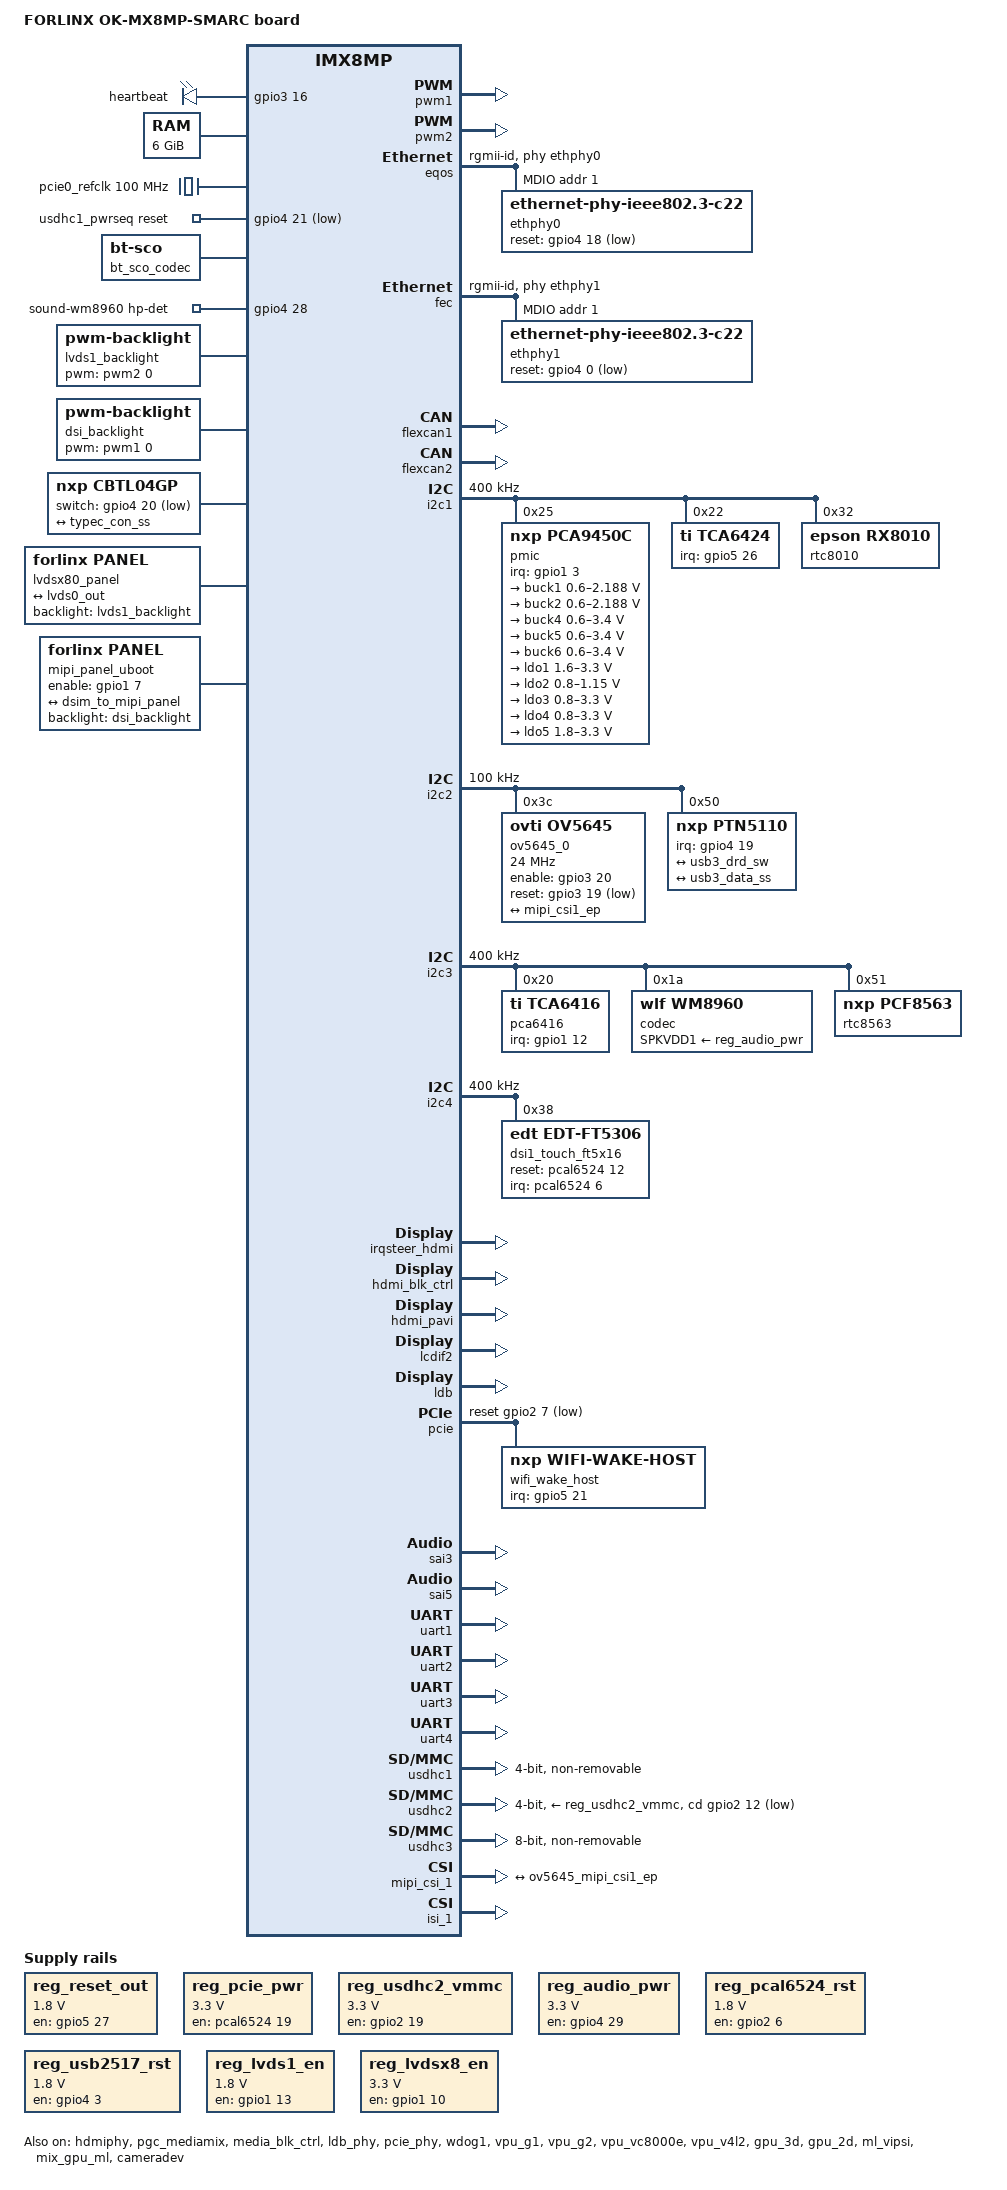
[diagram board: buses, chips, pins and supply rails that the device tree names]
// SPDX-License-Identifier: (GPL-2.0+ OR MIT)
/*
 * Copyright 2023 FORLINX
 */

/dts-v1/;

#include <dt-bindings/phy/phy-imx8-pcie.h>
#include <dt-bindings/usb/pd.h>
#include "imx8mp.dtsi"

/ {
	model = "FORLINX OK-MX8MP-SMARC board";
	compatible = "fsl,imx8mp", "forlinx,ok-mx8mp-smarc";

	chosen {
		stdout-path = &uart2;
	};

	gpio-leds {
		compatible = "gpio-leds";
		pinctrl-names = "default";
		pinctrl-0 = <&pinctrl_gpio_led>;

		heartbeat {
			linux,default-trigger = "heartbeat";
			gpios = <&gpio3 16 GPIO_ACTIVE_HIGH>;
			default-state = "off";
		};
	};

	memory@40000000 {
		device_type = "memory";
		reg = <0x0 0x40000000 0 0xc0000000>,
		      <0x1 0x00000000 0 0xc0000000>;
	};

	pcie0_refclk: pcie0-refclk {
		compatible = "fixed-clock";
		#clock-cells = <0>;
		clock-frequency = <100000000>;
	};

	reg_reset_out: regulator-reset-out {
		compatible = "regulator-fixed";
		pinctrl-names = "default";
		pinctrl-0 = <&pinctrl_reset_out>;
		regulator-name = "RESET_OUT_1V8";
		regulator-min-microvolt = <1800000>;
		regulator-max-microvolt = <1800000>;
		gpio = <&gpio5 27 GPIO_ACTIVE_HIGH>;
		enable-active-high;
		regulator-always-on;
	};

	reg_pcie_pwr: regulator-pcie-pwr {
		compatible = "regulator-fixed";
		regulator-name = "PCIE_PWR_3V3";
		regulator-min-microvolt = <3300000>;
		regulator-max-microvolt = <3300000>;
		gpio = <&pcal6524 19 GPIO_ACTIVE_HIGH>;
		enable-active-high;
		regulator-always-on;
	};
/*
	reg_usb_vbus: regulator-vbus {
		compatible = "regulator-fixed";
		pinctrl-names = "default";
		pinctrl-0 = <&pinctrl_usb1_vbus>;
		regulator-name = "USB_VBUS";
		regulator-min-microvolt = <5000000>;
		regulator-max-microvolt = <5000000>;
		gpio = <&gpio1 14 GPIO_ACTIVE_HIGH>;
		enable-active-high;
		regulator-always-on;
	};
*/
	reg_usdhc2_vmmc: regulator-usdhc2 {
		compatible = "regulator-fixed";
		pinctrl-names = "default";
		pinctrl-0 = <&pinctrl_reg_usdhc2_vmmc>;
		regulator-name = "VSD_3V3";
		regulator-min-microvolt = <3300000>;
		regulator-max-microvolt = <3300000>;
		gpio = <&gpio2 19 GPIO_ACTIVE_HIGH>;
		enable-active-high;
	};

	reg_audio_pwr: regulator-audio-pwr {
		compatible = "regulator-fixed";
		regulator-name = "audio-pwr";
		regulator-min-microvolt = <3300000>;
		regulator-max-microvolt = <3300000>;
		gpio = <&gpio4 29 GPIO_ACTIVE_HIGH>;
		enable-active-high;
		regulator-always-on;
	};

	reg_pcal6524_rst: regulator-pcal6524-rst {
		compatible = "regulator-fixed";
		pinctrl-names = "default";
		pinctrl-0 = <&pinctrl_pcal6524_rst>;
		regulator-name = "PCAL6524_RST_1V8";
		regulator-min-microvolt = <1800000>;
		regulator-max-microvolt = <1800000>;
		gpio = <&gpio2 6 GPIO_ACTIVE_LOW>;
		enable-active-high;
		regulator-always-on;
	};

	/* USB HUB rst */
	reg_usb2517_rst: regulator-usb2517-rst {
		compatible = "regulator-fixed";
		pinctrl-names = "default";
		pinctrl-0 = <&pinctrl_usb2517_rst>;
		regulator-name = "USB2517_RST_1V8";
		regulator-min-microvolt = <1800000>;
		regulator-max-microvolt = <1800000>;
		gpio = <&gpio4 3 GPIO_ACTIVE_LOW>;
		enable-active-high;
		regulator-always-on;
	};

	reg_lvds1_en: regulator-lvds1-en {
		compatible = "regulator-fixed";
		pinctrl-names = "default";
		pinctrl-0 = <&pinctrl_lvds1_en>;
		regulator-name = "LVDS1_EN_1V8";
		regulator-min-microvolt = <1800000>;
		regulator-max-microvolt = <1800000>;
		gpio = <&gpio1 13 GPIO_ACTIVE_HIGH>;
		enable-active-high;
		regulator-always-on;
	};

	reg_lvdsx8_en: regulator-lvdsx8-en {
		compatible = "regulator-fixed";
		status = "okay";
		pinctrl-names = "default";
		pinctrl-0 = <&pinctrl_lvdsx8_en>;
		regulator-name = "LVDSX8_EN_3V3";
		regulator-min-microvolt = <3300000>;
		regulator-max-microvolt = <3300000>;
		gpio = <&gpio1 10 GPIO_ACTIVE_HIGH>;
		enable-active-high;
		regulator-always-on;
	};

/*
	reg_mipidsi_en: regulator-mipidsi-en {
		compatible = "regulator-fixed";
		pinctrl-names = "default";
		pinctrl-0 = <&pinctrl_mipi_dsi_en>;
		regulator-name = "MIPIDSI_EN_1V8";
		regulator-min-microvolt = <1800000>;
		regulator-max-microvolt = <1800000>;
		gpio = <&gpio1 5 GPIO_ACTIVE_HIGH>;
		enable-active-high;
		regulator-always-on;
	};
*/
	usdhc1_pwrseq: usdhc1_pwrseq {
		compatible = "mmc-pwrseq-simple";
		reset-gpios = <&gpio4 21 GPIO_ACTIVE_LOW>;
	};

	bt_sco_codec: bt_sco_codec {
		#sound-dai-cells = <1>;
		compatible = "linux,bt-sco";
	};

	sound-bt-sco {
		compatible = "simple-audio-card";
		simple-audio-card,name = "bt-sco-audio";
		simple-audio-card,format = "dsp_a";
		simple-audio-card,bitclock-inversion;
		simple-audio-card,frame-master = <&btcpu>;
		simple-audio-card,bitclock-master = <&btcpu>;

		btcpu: simple-audio-card,cpu {
			sound-dai = <&sai2>;
			dai-tdm-slot-num = <2>;
			dai-tdm-slot-width = <16>;
		};

		simple-audio-card,codec {
			sound-dai = <&bt_sco_codec 1>;
		};
	};

	sound-hdmi {
		compatible = "fsl,imx-audio-hdmi";
		model = "audio-hdmi";
		audio-cpu = <&aud2htx>;
		hdmi-out;
		constraint-rate = <44100>,
				<88200>,
				<176400>,
				<32000>,
				<48000>,
				<96000>,
				<192000>;
		status = "disabled";
	};

	sound-wm8960 {
		compatible = "fsl,imx-audio-wm8960";
		model = "wm8960-audio";
		audio-cpu = <&sai3>;
		audio-codec = <&codec>;
		audio-asrc = <&easrc>;
		hp-det-gpio = <&gpio4 28 0>;
		audio-routing =
			"Headphone Jack", "HP_L",
			"Headphone Jack", "HP_R",
			"Ext Spk", "SPK_LP",
			"Ext Spk", "SPK_LN",
			"Ext Spk", "SPK_RP",
			"Ext Spk", "SPK_RN",
			"LINPUT1", "Mic Jack",
			"LINPUT3", "Mic Jack",
			"Mic Jack", "MICB";
	};

	sound-micfil {
		compatible = "fsl,imx-audio-card";
		model = "micfil-audio";
		pri-dai-link {
			link-name = "micfil hifi";
			format = "i2s";
			cpu {
				sound-dai = <&micfil>;
			};
		};
	};

	sound-xcvr {
		compatible = "fsl,imx-audio-card";
		model = "imx-audio-xcvr";
		pri-dai-link {
			link-name = "XCVR PCM";
			cpu {
				sound-dai = <&xcvr>;
			};
		};
	};

	lvds1_backlight: lvds1_backlight {
		compatible = "pwm-backlight";
		pwms = <&pwm2 0 50000 0>;
		status = "okay";

		brightness-levels = < 0  1  2  3  4  5  6  7  8  9
				     10 11 12 13 14 15 16 17 18 19
				     20 21 22 23 24 25 26 27 28 29
				     30 31 32 33 34 35 36 37 38 39
				     40 41 42 43 44 45 46 47 48 49
				     50 51 52 53 54 55 56 57 58 59
				     60 61 62 63 64 65 66 67 68 69
				     70 71 72 73 74 75 76 77 78 79
				     80 81 82 83 84 85 86 87 88 89
				     90 91 92 93 94 95 96 97 98 99
				    100>;
		default-brightness-level = <80>;
	};

	dsi_backlight: dsi_backlight {
		compatible = "pwm-backlight";
		pwms = <&pwm1 0 50000 0>;
		status = "okay";
		is-forlinx;      //if not forlinx backligth  remove this

		brightness-levels = < 0  1  2  3  4  5  6  7  8  9
				     10 11 12 13 14 15 16 17 18 19
				     20 21 22 23 24 25 26 27 28 29
				     30 31 32 33 34 35 36 37 38 39
				     40 41 42 43 44 45 46 47 48 49
				     50 51 52 53 54 55 56 57 58 59
				     60 61 62 63 64 65 66 67 68 69
				     70 71 72 73 74 75 76 77 78 79
				     80 81 82 83 84 85 86 87 88 89
				     90 91 92 93 94 95 96 97 98 99
				    100>;
		default-brightness-level = <80>;
	};

	cbtl04gp {
		compatible = "nxp,cbtl04gp";
		pinctrl-names = "default";
		pinctrl-0 = <&pinctrl_typec_mux>;
		switch-gpios = <&gpio4 20 GPIO_ACTIVE_LOW>;
		orientation-switch;

		port {
			usb3_data_ss: endpoint {
				remote-endpoint = <&typec_con_ss>;
			};
		};
	};
};

&flexspi {
	pinctrl-names = "default";
	pinctrl-0 = <&pinctrl_flexspi0>;
	status = "disabled";

	flash0: mt25qu256aba@0 {
		reg = <0>;
		#address-cells = <1>;
		#size-cells = <1>;
		compatible = "jedec,spi-nor";
		spi-max-frequency = <80000000>;
		spi-tx-bus-width = <1>;
		spi-rx-bus-width = <4>;
	};
};

&A53_0 {
	cpu-supply = <&buck2>;
};

&A53_1 {
	cpu-supply = <&buck2>;
};

&A53_2 {
	cpu-supply = <&buck2>;
};

&A53_3 {
	cpu-supply = <&buck2>;
};

&dsp {
	status = "disabled";
};

&pwm1 {
	pinctrl-names = "default";
	pinctrl-0 = <&pinctrl_pwm1>;
	status = "okay";
};

&pwm2 {
	pinctrl-names = "default";
	pinctrl-0 = <&pinctrl_pwm2>;
	status = "okay";
};

&pwm3 {
	pinctrl-names = "default";
	pinctrl-0 = <&pinctrl_pwm3>;
	status = "disabled";
};

&aud2htx {
	status = "disabled";
};

//TODO
&ecspi1 {
	#address-cells = <1>;
	#size-cells = <0>;
	fsl,spi-num-chipselects = <1>;
	pinctrl-names = "default";
	pinctrl-0 = <&pinctrl_ecspi2 &pinctrl_ecspi2_cs>;
	cs-gpios = <&gpio5 13 GPIO_ACTIVE_LOW>;
	status = "disabled";
/*
	spidev1: spi@0 {
		reg = <0>;
		compatible = "rohm,dh2228fv";
		spi-max-frequency = <500000>;
	};*/
};
&ecspi2 {
	#address-cells = <1>;
	#size-cells = <0>;
	fsl,spi-num-chipselects = <1>;
	pinctrl-names = "default";
	pinctrl-0 = <&pinctrl_ecspi2 &pinctrl_ecspi2_cs>;
	cs-gpios = <&gpio5 13 GPIO_ACTIVE_LOW>;
	status = "disabled";
/*
	spidev1: spi@0 {
		reg = <0>;
		compatible = "rohm,dh2228fv";
		spi-max-frequency = <500000>;
	};*/
};

&eqos {
	pinctrl-names = "default";
	pinctrl-0 = <&pinctrl_eqos>;
	phy-mode = "rgmii-id";
	phy-handle = <&ethphy0>;
	snps,force_thresh_dma_mode;
	snps,mtl-tx-config = <&mtl_tx_setup>;
	snps,mtl-rx-config = <&mtl_rx_setup>;
	status = "okay";

	mdio {
		compatible = "snps,dwmac-mdio";
		#address-cells = <1>;
		#size-cells = <0>;

		ethphy0: ethernet-phy@1 {
			compatible = "ethernet-phy-ieee802.3-c22";
			reg = <1>;
			eee-broken-1000t;
			reset-gpios = <&gpio4 18 GPIO_ACTIVE_LOW>;
			reset-assert-us = <10000>;
			reset-deassert-us = <80000>;
			realtek,clkout-disable;
		};
	};

	mtl_tx_setup: tx-queues-config {
		snps,tx-queues-to-use = <5>;
		snps,tx-sched-sp;

		queue0 {
			snps,dcb-algorithm;
			snps,priority = <0x1>;
		};

		queue1 {
			snps,dcb-algorithm;
			snps,priority = <0x2>;
		};

		queue2 {
			snps,dcb-algorithm;
			snps,priority = <0x4>;
		};

		queue3 {
			snps,dcb-algorithm;
			snps,priority = <0x8>;
		};

		queue4 {
			snps,dcb-algorithm;
			snps,priority = <0xf0>;
		};
	};

	mtl_rx_setup: rx-queues-config {
		snps,rx-queues-to-use = <5>;
		snps,rx-sched-sp;

		queue0 {
			snps,dcb-algorithm;
			snps,priority = <0x1>;
			snps,map-to-dma-channel = <0>;
		};

		queue1 {
			snps,dcb-algorithm;
			snps,priority = <0x2>;
			snps,map-to-dma-channel = <1>;
		};

		queue2 {
			snps,dcb-algorithm;
			snps,priority = <0x4>;
			snps,map-to-dma-channel = <2>;
		};

		queue3 {
			snps,dcb-algorithm;
			snps,priority = <0x8>;
			snps,map-to-dma-channel = <3>;
		};

		queue4 {
			snps,dcb-algorithm;
			snps,priority = <0xf0>;
			snps,map-to-dma-channel = <4>;
		};
	};
};

&fec {
	pinctrl-names = "default";
	pinctrl-0 = <&pinctrl_fec>;
	phy-mode = "rgmii-id";
	phy-handle = <&ethphy1>;
	fsl,magic-packet;
	status = "okay";

	mdio {
		#address-cells = <1>;
		#size-cells = <0>;

		ethphy1: ethernet-phy@1 {
			compatible = "ethernet-phy-ieee802.3-c22";
			reg = <1>;
			eee-broken-1000t;
			reset-gpios = <&gpio4 0 GPIO_ACTIVE_LOW>;
			reset-assert-us = <10000>;
			reset-deassert-us = <80000>;
			realtek,aldps-enable;
			realtek,clkout-disable;
		};
	};
};

&flexcan1 {
	pinctrl-names = "default";
	pinctrl-0 = <&pinctrl_flexcan1>;
	status = "okay";
};

&flexcan2 {
	pinctrl-names = "default";
	pinctrl-0 = <&pinctrl_flexcan2>;
//	pinctrl-assert-gpios = <&pca6416 3 GPIO_ACTIVE_HIGH>;
	status = "okay";
};

&i2c1 {
	clock-frequency = <400000>;
	pinctrl-names = "default";
	pinctrl-0 = <&pinctrl_i2c1>;
	status = "okay";

	pmic@25 {
		compatible = "nxp,pca9450c";
		reg = <0x25>;
		pinctrl-names = "default";
		pinctrl-0 = <&pinctrl_pmic>;
		interrupt-parent = <&gpio1>;
		interrupts = <3 IRQ_TYPE_LEVEL_LOW>;

		regulators {
			buck1: BUCK1 {
				regulator-name = "BUCK1";
				regulator-min-microvolt = <600000>;
				regulator-max-microvolt = <2187500>;
				regulator-boot-on;
				regulator-always-on;
				regulator-ramp-delay = <3125>;
			};

			buck2: BUCK2 {
				regulator-name = "BUCK2";
				regulator-min-microvolt = <600000>;
				regulator-max-microvolt = <2187500>;
				regulator-boot-on;
				regulator-always-on;
				regulator-ramp-delay = <3125>;
				nxp,dvs-run-voltage = <950000>;
				nxp,dvs-standby-voltage = <850000>;
			};

			buck4: BUCK4{
				regulator-name = "BUCK4";
				regulator-min-microvolt = <600000>;
				regulator-max-microvolt = <3400000>;
				regulator-boot-on;
				regulator-always-on;
			};

			buck5: BUCK5{
				regulator-name = "BUCK5";
				regulator-min-microvolt = <600000>;
				regulator-max-microvolt = <3400000>;
				regulator-boot-on;
				regulator-always-on;
			};

			buck6: BUCK6 {
				regulator-name = "BUCK6";
				regulator-min-microvolt = <600000>;
				regulator-max-microvolt = <3400000>;
				regulator-boot-on;
				regulator-always-on;
			};

			ldo1: LDO1 {
				regulator-name = "LDO1";
				regulator-min-microvolt = <1600000>;
				regulator-max-microvolt = <3300000>;
				regulator-boot-on;
				regulator-always-on;
			};

			ldo2: LDO2 {
				regulator-name = "LDO2";
				regulator-min-microvolt = <800000>;
				regulator-max-microvolt = <1150000>;
				regulator-boot-on;
				regulator-always-on;
			};

			ldo3: LDO3 {
				regulator-name = "LDO3";
				regulator-min-microvolt = <800000>;
				regulator-max-microvolt = <3300000>;
				regulator-boot-on;
				regulator-always-on;
			};

			ldo4: LDO4 {
				regulator-name = "LDO4";
				regulator-min-microvolt = <800000>;
				regulator-max-microvolt = <3300000>;
				regulator-boot-on;
				regulator-always-on;
			};

			ldo5: LDO5 {
				regulator-name = "LDO5";
				regulator-min-microvolt = <1800000>;
				regulator-max-microvolt = <3300000>;
				regulator-boot-on;
				regulator-always-on;
			};
		};
	};

	tca6424: gpio@22 {
		compatible = "ti,tca6424";
		pinctrl-names = "default";
		pinctrl-0 = <&pinctrl_tca6424>;
		reg = <0x22>;
		gpio-controller;
		#gpio-cells = <2>;
		interrupt-controller;
		#interrupt-cells = <2>;
		interrupt-parent = <&gpio5>;
		interrupts = <26 IRQ_TYPE_LEVEL_LOW>;
	};

	rtc8010: rx8010@32 {
		compatible = "epson,rx8010";
		reg = <0x32>;
	};
/*
	rtc8563: pcf8563@51 {
		compatible = "nxp,pcf8563";
		reg = <0x51>;
	};*/
};

&i2c2 {
	clock-frequency = <100000>;
	pinctrl-names = "default";
	pinctrl-0 = <&pinctrl_i2c2>;
	status = "okay";

	ov5645_0: ov5645_mipi@3c {
		compatible = "ovti,ov5645";
		reg = <0x3c>;
		pinctrl-names = "default";
		pinctrl-0 = <&pinctrl_csi0_pwn>, <&pinctrl_csi0_rst>;
		clocks = <&clk IMX8MP_CLK_IPP_DO_CLKO2>;
		clock-names = "xclk";
		assigned-clocks = <&clk IMX8MP_CLK_IPP_DO_CLKO2>;
		assigned-clock-parents = <&clk IMX8MP_CLK_24M>;
		assigned-clock-rates = <24000000>;
		csi_id = <1>;
		enable-gpios = <&gpio3 20 GPIO_ACTIVE_HIGH>;
		reset-gpios = <&gpio3 19 GPIO_ACTIVE_LOW>;
		clock-frequency = <24000000>;
		mclk = <24000000>;
		mclk_source = <0>;
		mipi_csi;
		status = "okay";

		port {
			ov5645_mipi_csi1_ep: endpoint {
				remote-endpoint = <&mipi_csi1_ep>;
				data-lanes = <1 2>;
				clock-lanes = <0>;
				link-frequencies = /bits/ 64 <336000000>;
			};
		};
	};

	ptn5110: tcpc@50 {
		compatible = "nxp,ptn5110";
		pinctrl-names = "default";
		pinctrl-0 = <&pinctrl_typec>;
		reg = <0x50>;
		interrupt-parent = <&gpio4>;
		interrupts = <19 8>;

		port {
			typec_dr_sw: endpoint {
				remote-endpoint = <&usb3_drd_sw>;
			};
		};

		usb_con: connector {
			compatible = "usb-c-connector";
			label = "USB-C";
			power-role = "dual";
			data-role = "dual";
			try-power-role = "sink";
			source-pdos = <PDO_FIXED(5000, 3000, PDO_FIXED_USB_COMM)>;
			sink-pdos = <PDO_FIXED(5000, 3000, PDO_FIXED_USB_COMM)
				     PDO_VAR(5000, 20000, 3000)>;
			op-sink-microwatt = <15000000>;
			self-powered;

			ports {
				#address-cells = <1>;
				#size-cells = <0>;

				port@1 {
					reg = <1>;
					typec_con_ss: endpoint {
						remote-endpoint = <&usb3_data_ss>;
					};
				};
			};
		};
	};
};

&i2c3 {
	clock-frequency = <400000>;
	pinctrl-names = "default";
	pinctrl-0 = <&pinctrl_i2c3>;
	status = "okay";

	pca6416: gpio@20 {
		compatible = "ti,tca6416";
		reg = <0x20>;
		gpio-controller;
		#gpio-cells = <2>;
		interrupt-controller;
		#interrupt-cells = <2>;
		pinctrl-names = "default";
		pinctrl-0 = <&pinctrl_pca6416_int>;
		interrupt-parent = <&gpio1>;
		interrupts = <12 IRQ_TYPE_LEVEL_LOW>;
		gpio-line-names = "EXT_PWREN1",
			"EXT_PWREN2",
			"CAN1/I2C5_SEL",
			"PDM/CAN2_SEL",
			"FAN_EN",
			"PWR_MEAS_IO1",
			"PWR_MEAS_IO2",
			"EXP_P0_7",
			"EXP_P1_0",
			"EXP_P1_1",
			"EXP_P1_2",
			"EXP_P1_3",
			"EXP_P1_4",
			"EXP_P1_5",
			"EXP_P1_6",
			"EXP_P1_7";
	};

	codec: wm8960@1a {
		compatible = "wlf,wm8960";
		reg = <0x1a>;
		clocks = <&audio_blk_ctrl IMX8MP_CLK_AUDIO_BLK_CTRL_SAI3_MCLK1>;
		clock-names = "mclk";
		wlf,shared-lrclk;
		wlf,hp-cfg = <3 2 3>;
		wlf,gpio-cfg = <1 3>;
		SPKVDD1-supply = <&reg_audio_pwr>;
	};

	/* for -c */
	rtc8563: pcf8563@51 {
		compatible = "nxp,pcf8563";
		reg = <0x51>;
	};
};

&i2c4 {
	clock-frequency = <400000>;
	pinctrl-names = "default";
	pinctrl-0 = <&pinctrl_i2c4>;
	status = "okay";

	dsi1_touch_ft5x16: dsi1_touch_ft5x06@38 {
		compatible = "edt,edt-ft5306";
		reg = <0x38>;
		reset-gpios = <&pcal6524 12 GPIO_ACTIVE_HIGH>; //P14
		interrupt-parent = <&pcal6524>;
		interrupts = <6 IRQ_TYPE_EDGE_FALLING>; //P06
		touchscreen-size-x = <1024>;
		touchscreen-size-y = <600>;
		status = "okay";
	};

	lvds1_gt928: touch_gt928@5d {
		compatible = "goodix,gt928";
		reg = <0x5d>;
		pinctrl-names = "default";
		pinctrl-0 = <&pinctrl_lvds1_gt928>;
		interrupt-parent = <&gpio1>;
		interrupts = <0 IRQ_TYPE_EDGE_FALLING>;
		irq-gpios = <&gpio1 0 GPIO_ACTIVE_HIGH>;
		reset-gpios = <&gpio1 10 GPIO_ACTIVE_HIGH>;
		touchscreen-size-x = <1280>;
		touchscreen-size-y = <800>;
		touchscreen-swapped-x-y;
		status = "disabled";
	};
};

&i2c5 {
	clock-frequency = <400000>;
	pinctrl-names = "default";
	pinctrl-0 = <&pinctrl_i2c5>;
	status = "disabled";
/*
	lvds1_gt928: touch_gt928@5d {
		compatible = "goodix,gt928";
		reg = <0x5d>;
		irq-gpios = <&pcal6524 5 GPIO_ACTIVE_HIGH>; //P05
		reset-gpios = <&pcal6524 10 GPIO_ACTIVE_HIGH>; //P12
		touchscreen-size-x = <1280>;
		touchscreen-size-y = <800>;
		touchscreen-swapped-x-y;
		status = "okay";
	};*/
};

&i2c6 {
	clock-frequency = <400000>;
	pinctrl-names = "default";
	pinctrl-0 = <&pinctrl_i2c6>;
	status = "disabled";

	/* I/O expand in carrier */
	pcal6524: pcal6524gpio@22 {
		compatible = "nxp,pcal6524";
		pinctrl-names = "default";
		pinctrl-0 = <&pinctrl_pcal6524>;
		reg = <0x22>;
		gpio-controller;
		#gpio-cells = <2>;
		interrupt-controller;
		#interrupt-cells = <2>;
		interrupt-parent = <&gpio3>;
		interrupts = <25 IRQ_TYPE_LEVEL_LOW>;
	};
};

&irqsteer_hdmi {
	status = "okay";
};

&hdmi_blk_ctrl {
	status = "okay";
};

&hdmi_pavi {
	status = "okay";
};

&hdmi {
	status = "disabled";
};

&hdmiphy {
	status = "okay";
};

&pgc_mediamix {
	status = "okay";
};

&media_blk_ctrl {
	status = "okay";
};

&lcdif1 {
	status = "disabled";
};

&lcdif2 {
	status = "okay";
};

&lcdif3 {
	status = "disabled";

	thres-low  = <1 2>;             /* (FIFO * 1 / 2) */
	thres-high = <3 4>;             /* (FIFO * 3 / 4) */
};


/{
/*	lvds0_panel {
		compatible = "forlinx,panel", "panel-lvds";
		backlight = <&lvds1_backlight>;
//		pinctrl-0 = <&pinctrl_lvds1_en>;
//		enable-gpio = <&gpio1 13 GPIO_ACTIVE_HIGH>;
		panel-type = "lvds";
		status = "disabled";

		width-mm = <218>;
		height-mm = <138>;
		data-mapping = "vesa-24";
		bmp-logo = "logo-1280x800.bmp";

		panel-timing {
			hback-porch		= <10>;
			hfront-porch	= <140>;
			hactive			= <1280>;
			hsync-len		= <10>;
			vback-porch		= <1>;
			vfront-porch	= <2>;
			vactive			= <800>;
			vsync-len		= <20>;
			clock-frequency	= <72000000>;
			hsync-active	= <1>;
			vsync-active	= <1>;
			de-active		= <1>;
		};

		port {
			panel_lvds0_in: endpoint {
				remote-endpoint = <&lvds0_out>;
			};
		};
	};

	lvds1_panel {
		compatible = "forlinx,panel", "panel-lvds";
		backlight = <&dsi_backlight>;
//		pinctrl-0 = <&pinctrl_lvds1_en>;
//		enable-gpio = <&gpio1 13 GPIO_ACTIVE_HIGH>;
		panel-type = "lvds";
		status = "disabled";

		width-mm = <218>;
		height-mm = <138>;
		data-mapping = "vesa-24";
        bmp-logo = "logo-1280x800.bmp";

		panel-timing {
			hback-porch		= <10>;
			hfront-porch	= <140>;
			hactive			= <1280>;
			hsync-len		= <10>;
			vback-porch		= <1>;
			vfront-porch	= <2>;
			vactive			= <800>;
			vsync-len		= <20>;
			clock-frequency	= <72000000>;
			hsync-active	= <1>;
			vsync-active	= <1>;
			de-active		= <1>;
		};

		port {
			panel_lvds1_in: endpoint {
				remote-endpoint = <&lvds1_out>;
			};
		};
	};
*/
	lvdsx80_panel {
		compatible = "forlinx,panel", "panel-lvds";
		backlight = <&lvds1_backlight>;
//		pinctrl-0 = <&pinctrl_lvds1_en>;
//		enable-gpio = <&gpio1 13 GPIO_ACTIVE_HIGH>;
		panel-type = "lvds";
		status = "okay";

		width-mm = <363>;
		height-mm = <215>;
		data-mapping = "vesa-24";
		bmp-logo = "logo-1280x800.bmp";

		panel-timing {
			hback-porch		= <20>;
			hfront-porch	= <144>;
			hactive			= <1920>;
			hsync-len		= <20>;
			vback-porch		= <10>;
			vfront-porch	= <6>;
			vactive			= <1080>;
			vsync-len		= <20>;
			clock-frequency	= <141000000>;
			hsync-active	= <1>;
			vsync-active	= <1>;
			de-active		= <1>;
		};

		port {
			panel_lvds0_in: endpoint {
				remote-endpoint = <&lvds0_out>;
			};
		};
	};

	lvdsx81_panel {
		compatible = "forlinx,panel", "panel-lvds";
		backlight = <&lvds1_backlight>;
//		pinctrl-0 = <&pinctrl_lvds1_en>;
//		enable-gpio = <&gpio1 13 GPIO_ACTIVE_HIGH>;
		panel-type = "lvds";
		status = "disabled";

		width-mm = <218>;
		height-mm = <138>;
		data-mapping = "vesa-24";
        bmp-logo = "logo-1280x800.bmp";

		panel-timing {
			hback-porch		= <10>;
			hfront-porch	= <72>;
			hactive			= <960>;
			hsync-len		= <10>;
			vback-porch		= <10>;
			vfront-porch	= <6>;
			vactive			= <1080>;
			vsync-len		= <20>;
			clock-frequency	= <70500000>;
			hsync-active	= <1>;
			vsync-active	= <1>;
			de-active		= <1>;
		};

		port {
			panel_lvds1_in: endpoint {
				remote-endpoint = <&lvds1_out>;
			};
		};
	};

};

&ldb {
	status = "okay";
	fsl,dual-channel;
	lvds-channel@0 {
		fsl,data-mapping = "spwg";
		fsl,data-width = <24>;
		status = "okay";
		port@1 {
			reg = <1>;

			lvds0_out: endpoint {
				remote-endpoint = <&panel_lvds0_in>;
			};
		};
	};

	lvds-channel@1 {
		fsl,data-mapping = "spwg";
		fsl,data-width = <24>;
		status = "disabled";
		port@1 {
			reg = <1>;

			lvds1_out: endpoint {
				remote-endpoint = <&panel_lvds1_in>;
			};
		};
	};
};

&ldb_phy {
	status = "okay";
};

/ {
	mipi_panel_uboot { //uboot ugly
		compatible = "forlinx,panel";
		reg = <0>;
		pinctrl-names = "default";
		pinctrl-0 = <&pinctrl_mipi_dsi_en>;
		enable-gpio = <&gpio1 7 GPIO_ACTIVE_HIGH>;
		panel-type = "mipi";
		dsi-lanes = <4>;
		video-mode = <2>;
		panel-width-mm = <68>;
		panel-height-mm = <121>;
		backlight = <&dsi_backlight>;
		bmp-logo = "logo-1024x600.bmp";
		status = "okay";
		display-timings {
			panel7_1024x600: timings {
				hback-porch     = <160>;
				hfront-porch    = <160>;
				hactive                 = <1024>;
				hsync-len               = <70>;
				vback-porch     = <23>;
				vfront-porch    = <12>;
				vactive         = <600>;
				vsync-len       = <10>;
				clock-frequency = <45000000>;
				vsync-active    = <0>;
				hsync-active    = <0>;
				de-active       = <0>;
				pixelclk-active = <0>;
			};
		};

    	port {
    	       mipi_panel_from_dsim: endpoint {
    	           remote-endpoint = <&dsim_to_mipi_panel>;
    	       };
    	};
	};

	dsi_host: dsi-host { //uboot
        compatible = "samsung,sec-mipi-dsi";
        status = "okay";
    };
};

&mipi_dsi {
	status = "disabled";
	pmsreg = <0x8644>; 		//uboot
    timing = <0x203>; 		//uboot
    timing1 = <0x20d0803>; 	//uboot
    timing2 = <0x030305>; 	//uboot

	mipi_panel {//kernel
		compatible = "forlinx,mipi-dsi";
		pinctrl-names = "default";
		pinctrl-0 = <&pinctrl_mipi_dsi_en>;
		enable-gpio = <&gpio1 7 GPIO_ACTIVE_HIGH>;
		reg = <0>;
		dsi-lanes = <4>;
		video-mode = <2>;
		panel-width-mm = <68>;
		panel-height-mm = <121>;
		backlight = <&dsi_backlight>;
		status = "disabled";
		display-timings { //kernel
			panel7_1024x600_kernel: timings {
				hback-porch     = <160>;
				hfront-porch    = <160>;
				hactive                 = <1024>;
				hsync-len               = <70>;
				vback-porch     = <23>;
				vfront-porch    = <12>;
				vactive         = <600>;
				vsync-len       = <10>;
				clock-frequency = <45000000>;
				vsync-active    = <0>;
				hsync-active    = <0>;
				de-active       = <0>;
				pixelclk-active = <0>;
			};
		};
	};
    port@1 { //uboot or bridge
        dsim_to_mipi_panel: endpoint {
            remote-endpoint = <&mipi_panel_from_dsim>;
        };
    };
};

&pcie_phy {
	fsl,refclk-pad-mode = <IMX8_PCIE_REFCLK_PAD_INPUT>;
	clocks = <&pcie0_refclk>;
	clock-names = "ref";
	status = "okay";
};

&pcie {
	pinctrl-names = "default";
	pinctrl-0 = <&pinctrl_pcie0>;
	reset-gpio = <&gpio2 7 GPIO_ACTIVE_LOW>;
	clocks = <&clk IMX8MP_CLK_HSIO_ROOT>,
		 <&clk IMX8MP_CLK_PCIE_ROOT>,
		 <&clk IMX8MP_CLK_HSIO_AXI>;
	clock-names = "pcie", "pcie_aux", "pcie_bus";
	assigned-clocks = <&clk IMX8MP_CLK_PCIE_AUX>;
	assigned-clock-rates = <10000000>;
	assigned-clock-parents = <&clk IMX8MP_SYS_PLL2_50M>;
	vpcie-supply = <&reg_pcie_pwr>;
	status = "okay";

	wifi_wake_host {
		compatible = "nxp,wifi-wake-host";
		interrupt-parent = <&gpio5>;
		interrupts = <21 IRQ_TYPE_LEVEL_LOW>;
		interrupt-names = "host-wake";
	};
};

&pcie_ep{
	pinctrl-names = "default";
	pinctrl-0 = <&pinctrl_pcie0>;
	clocks = <&clk IMX8MP_CLK_HSIO_ROOT>,
		 <&clk IMX8MP_CLK_PCIE_ROOT>,
		 <&clk IMX8MP_CLK_HSIO_AXI>;
	clock-names = "pcie", "pcie_aux", "pcie_bus";
	assigned-clocks = <&clk IMX8MP_CLK_HSIO_AXI>,
			  <&clk IMX8MP_CLK_PCIE_AUX>;
	assigned-clock-rates = <500000000>, <10000000>;
	assigned-clock-parents = <&clk IMX8MP_SYS_PLL2_500M>,
				 <&clk IMX8MP_SYS_PLL2_50M>;
	status = "disabled";
};

&sai2 {
	#sound-dai-cells = <0>;
	pinctrl-names = "default";
	pinctrl-0 = <&pinctrl_sai2>;
	assigned-clocks = <&clk IMX8MP_CLK_SAI2>;
	assigned-clock-parents = <&clk IMX8MP_AUDIO_PLL1_OUT>;
	assigned-clock-rates = <12288000>;
	status = "disabled";
};

&snvs_pwrkey {
	status = "disabled";
};

&easrc {
	fsl,asrc-rate  = <48000>;
	status = "disabled";
};

&micfil {
	#sound-dai-cells = <0>;
	pinctrl-names = "default";
	pinctrl-0 = <&pinctrl_pdm>;
	assigned-clocks = <&clk IMX8MP_CLK_PDM>;
	assigned-clock-parents = <&clk IMX8MP_AUDIO_PLL1_OUT>;
	assigned-clock-rates = <196608000>;
	status = "disabled";
};

&sai3 {
	pinctrl-names = "default";
	pinctrl-0 = <&pinctrl_sai3>;
	assigned-clocks = <&clk IMX8MP_CLK_SAI3>;
	assigned-clock-parents = <&clk IMX8MP_AUDIO_PLL1_OUT>;
	assigned-clock-rates = <12288000>;
	clocks = <&audio_blk_ctrl IMX8MP_CLK_AUDIO_BLK_CTRL_SAI3_IPG>, <&clk IMX8MP_CLK_DUMMY>,
		 <&audio_blk_ctrl IMX8MP_CLK_AUDIO_BLK_CTRL_SAI3_MCLK1>, <&clk IMX8MP_CLK_DUMMY>,
		 <&clk IMX8MP_CLK_DUMMY>;
	clock-names = "bus", "mclk0", "mclk1", "mclk2", "mclk3";
	fsl,sai-mclk-direction-output;
	status = "okay";
};

&sai5 {
	pinctrl-names = "default";
	pinctrl-0 = <&pinctrl_sai5>;
	assigned-clocks = <&clk IMX8MP_CLK_SAI5>;
	assigned-clock-parents = <&clk IMX8MP_AUDIO_PLL1_OUT>;
	assigned-clock-rates = <12288000>;
	clocks = <&audio_blk_ctrl IMX8MP_CLK_AUDIO_BLK_CTRL_SAI5_IPG>, <&clk IMX8MP_CLK_DUMMY>,
		 <&audio_blk_ctrl IMX8MP_CLK_AUDIO_BLK_CTRL_SAI5_MCLK1>, <&clk IMX8MP_CLK_DUMMY>,
		 <&clk IMX8MP_CLK_DUMMY>;
	clock-names = "bus", "mclk0", "mclk1", "mclk2", "mclk3";
	fsl,sai-mclk-direction-output;
	status = "okay";
};

&xcvr {
	#sound-dai-cells = <0>;
	status = "disabled";
};

&sdma2 {
	status = "disabled";
};

&uart1 { /* BT */
	pinctrl-names = "default";
	pinctrl-0 = <&pinctrl_uart1>;
	assigned-clocks = <&clk IMX8MP_CLK_UART1>;
	assigned-clock-parents = <&clk IMX8MP_SYS_PLL1_80M>;
	status = "okay";
};

&uart2 {
	/* console */
	pinctrl-names = "default";
	pinctrl-0 = <&pinctrl_uart2>;
	status = "okay";
};

&uart3 {
	pinctrl-names = "default";
	pinctrl-0 = <&pinctrl_uart3>;
	assigned-clocks = <&clk IMX8MP_CLK_UART3>;
	assigned-clock-parents = <&clk IMX8MP_SYS_PLL1_80M>;
	fsl,uart-has-rtscts;
	status = "okay";
};

&uart4 {
	pinctrl-names = "default";
	pinctrl-0 = <&pinctrl_uart4>;
	assigned-clocks = <&clk IMX8MP_CLK_UART4>;
	assigned-clock-parents = <&clk IMX8MP_SYS_PLL1_80M>;
	fsl,uart-has-rtscts;
	status = "okay";
};

&usb3_phy0 {
	fsl,phy-tx-vref-tune = <0xe>;
	fsl,phy-tx-preemp-amp-tune = <3>;
	fsl,phy-tx-vboost-level = <5>;
	fsl,phy-comp-dis-tune = <7>;
	fsl,pcs-tx-deemph-3p5db = <0x21>;
	fsl,phy-pcs-tx-swing-full = <0x7f>;
	status = "disabled";
};

&usb3_0 {
	status = "disabled";
};

&usb_dwc3_0 {
	dr_mode = "otg";
	hnp-disable;
	srp-disable;
	adp-disable;
	usb-role-switch;
	role-switch-default-mode = "none";
	snps,dis-u1-entry-quirk;
	snps,dis-u2-entry-quirk;
	status = "disabled";

	port {
		usb3_drd_sw: endpoint {
			remote-endpoint = <&typec_dr_sw>;
		};
	};
};

&usb3_phy1 {
	fsl,phy-tx-preemp-amp-tune = <3>;
	fsl,phy-tx-vref-tune = <0xb>;
	status = "disabled";
};

&usb3_1 {
	status = "disabled";
};

&usb_dwc3_1 {
//	vbus-supply = <&reg_usb_vbus>;
	dr_mode = "host";
	status = "disabled";
};

/* WIFI */
&usdhc1 {
	pinctrl-names = "default", "state_100mhz", "state_200mhz";
	pinctrl-0 = <&pinctrl_usdhc1>, <&pinctrl_usdhc1_gpio>;
	pinctrl-1 = <&pinctrl_usdhc1_100mhz>, <&pinctrl_usdhc1_gpio>;
	pinctrl-2 = <&pinctrl_usdhc1_200mhz>, <&pinctrl_usdhc1_gpio>;
	bus-width = <4>;
	non-removable;
	status = "okay";
//	pm-ignore-notify;
//	keep-power-in-suspend;
	/delete-property/ mmc-supply;	
	mmc-pwrseq = <&usdhc1_pwrseq>;
};

/* TF card */
&usdhc2 {
	assigned-clocks = <&clk IMX8MP_CLK_USDHC2>;
	assigned-clock-rates = <400000000>;
	pinctrl-names = "default", "state_100mhz", "state_200mhz";
	pinctrl-0 = <&pinctrl_usdhc2>, <&pinctrl_usdhc2_gpio>;
	pinctrl-1 = <&pinctrl_usdhc2_100mhz>, <&pinctrl_usdhc2_gpio>;
	pinctrl-2 = <&pinctrl_usdhc2_200mhz>, <&pinctrl_usdhc2_gpio>;
	cd-gpios = <&gpio2 12 GPIO_ACTIVE_LOW>;
	vmmc-supply = <&reg_usdhc2_vmmc>;
	bus-width = <4>;
	status = "okay";
};

/* eMMC */
&usdhc3 {
	assigned-clocks = <&clk IMX8MP_CLK_USDHC3>;
	assigned-clock-rates = <400000000>;
	pinctrl-names = "default", "state_100mhz", "state_200mhz";
	pinctrl-0 = <&pinctrl_usdhc3>;
	pinctrl-1 = <&pinctrl_usdhc3_100mhz>;
	pinctrl-2 = <&pinctrl_usdhc3_200mhz>;
	bus-width = <8>;
	non-removable;
	status = "okay";
};

&wdog1 {
	pinctrl-names = "default";
	pinctrl-0 = <&pinctrl_wdog>;
	fsl,ext-reset-output;
	status = "okay";
};

&iomuxc {
	pinctrl-names = "default";
	pinctrl-0 = <&pinctrl_hog>;

	pinctrl_hog: hoggrp {
		fsl,pins = <
			MX8MP_IOMUXC_HDMI_DDC_SCL__HDMIMIX_HDMI_SCL	0x400001c2
			MX8MP_IOMUXC_HDMI_DDC_SDA__HDMIMIX_HDMI_SDA	0x400001c2
			MX8MP_IOMUXC_HDMI_HPD__HDMIMIX_HDMI_HPD		0x40000010
			MX8MP_IOMUXC_HDMI_CEC__HDMIMIX_HDMI_CEC		0x40000010
			/*
			 * M.2 pin20 & pin21 need to be set to 11 for 88W9098 to select the
			 * default Reference Clock Frequency
			 */
			//MX8MP_IOMUXC_SD1_DATA7__GPIO2_IO09		0x1c4
			
			/* GPIO */
			MX8MP_IOMUXC_GPIO1_IO06__GPIO1_IO06		0x102 /* LCD0_BKLT_EN, Output pull-down */
//			MX8MP_IOMUXC_GPIO1_IO00__GPIO1_IO00		0x102 /* LCD1_BKLT_EN, Output pull-down */
			MX8MP_IOMUXC_SAI2_TXFS__GPIO4_IO24		0x102
		>;
	};

	pinctrl_lvds1_gt928: lvds1_gt928grp {
		fsl,pins = <
			MX8MP_IOMUXC_GPIO1_IO00__GPIO1_IO00		0x16
			MX8MP_IOMUXC_GPIO1_IO10__GPIO1_IO10		0x16
		>;
	};

	pinctrl_reset_out: resetoutgrp {
		fsl,pins = <
			MX8MP_IOMUXC_UART3_TXD__GPIO5_IO27		0x102 /* CARRIER reset, Output pull-down */
		>;
	};

	pinctrl_lvds1_en: lvds1engrp {
		fsl,pins = <
			//MX8MP_IOMUXC_UART4_TXD__GPIO5_IO29		0x142 /* RST, Output pull-up. */
			MX8MP_IOMUXC_GPIO1_IO13__GPIO1_IO13 0x16
		>;
	};

	pinctrl_lvdsx8_en: lvdsx8engrp {
		fsl,pins = <
			MX8MP_IOMUXC_GPIO1_IO10__GPIO1_IO10 0x16
		>;
	};

	pinctrl_mipi_dsi_en: mipi_dsi_en {
		fsl,pins = <
//			MX8MP_IOMUXC_GPIO1_IO05__GPIO1_IO05	0x102 /* LCD1_BKLT_EN, Output pull-down */
			MX8MP_IOMUXC_GPIO1_IO07__GPIO1_IO07 0x16
		>;
	};

	pinctrl_usb1: usb1grp {
		fsl,pins = <
			//TODO
//			MX8MP_IOMUXC_GPIO1_IO10__USB1_ID		0x102
			MX8MP_IOMUXC_GPIO1_IO13__USB1_OC		0x102
		>;
	};

	pinctrl_pwm1: pwm1grp {
		fsl,pins = <
			MX8MP_IOMUXC_GPIO1_IO01__PWM1_OUT	0x116
		>;
	};

	pinctrl_pwm2: pwm2grp {
		fsl,pins = <
			MX8MP_IOMUXC_GPIO1_IO11__PWM2_OUT	0x116
		>;
	};

	pinctrl_pwm3: pwm3grp {
		fsl,pins = <
			MX8MP_IOMUXC_GPIO1_IO14__PWM3_OUT	0x116
		>;
	};

	pinctrl_spi1: spi1grp {
		fsl,pins = <
			//TODO
			MX8MP_IOMUXC_ECSPI1_SCLK__ECSPI1_SCLK 0x102
			MX8MP_IOMUXC_ECSPI1_MOSI__ECSPI1_MOSI 0x102
//			MX8MP_IOMUXC_ECSPI1_MISO__ECSPI1_MISO 0x102
//			MX8MP_IOMUXC_ECSPI1_SS0__ECSPI1_SS0 0x102
			MX8MP_IOMUXC_GPIO1_IO07__GPIO1_IO07 0x102
		>;
	};

	pinctrl_ecspi2: ecspi2grp {
		fsl,pins = <
			MX8MP_IOMUXC_ECSPI2_SCLK__ECSPI2_SCLK		0x82
			MX8MP_IOMUXC_ECSPI2_MOSI__ECSPI2_MOSI		0x82
			MX8MP_IOMUXC_ECSPI2_MISO__ECSPI2_MISO		0x82
		>;
	};

	pinctrl_ecspi2_cs: ecspi2cs {
		fsl,pins = <
			MX8MP_IOMUXC_ECSPI2_SS0__GPIO5_IO13		0x40000
		>;
	};

	pinctrl_eqos: eqosgrp {
		fsl,pins = <
			MX8MP_IOMUXC_ENET_MDC__ENET_QOS_MDC				0x2
			MX8MP_IOMUXC_ENET_MDIO__ENET_QOS_MDIO				0x2
			MX8MP_IOMUXC_ENET_RD0__ENET_QOS_RGMII_RD0			0x90
			MX8MP_IOMUXC_ENET_RD1__ENET_QOS_RGMII_RD1			0x90
			MX8MP_IOMUXC_ENET_RD2__ENET_QOS_RGMII_RD2			0x90
			MX8MP_IOMUXC_ENET_RD3__ENET_QOS_RGMII_RD3			0x90
			MX8MP_IOMUXC_ENET_RXC__CCM_ENET_QOS_CLOCK_GENERATE_RX_CLK	0x90
			MX8MP_IOMUXC_ENET_RX_CTL__ENET_QOS_RGMII_RX_CTL			0x90
			MX8MP_IOMUXC_ENET_TD0__ENET_QOS_RGMII_TD0			0x16
			MX8MP_IOMUXC_ENET_TD1__ENET_QOS_RGMII_TD1			0x16
			MX8MP_IOMUXC_ENET_TD2__ENET_QOS_RGMII_TD2			0x16
			MX8MP_IOMUXC_ENET_TD3__ENET_QOS_RGMII_TD3			0x16
			MX8MP_IOMUXC_ENET_TX_CTL__ENET_QOS_RGMII_TX_CTL			0x16
			MX8MP_IOMUXC_ENET_TXC__CCM_ENET_QOS_CLOCK_GENERATE_TX_CLK	0x16
			MX8MP_IOMUXC_SAI1_TXD6__GPIO4_IO18					0x10 /* RESET */
			//TODO
			MX8MP_IOMUXC_SAI1_TXD7__GPIO4_IO19					0x146 /* INT Input pull-up. */
			MX8MP_IOMUXC_GPIO1_IO09__ENET_QOS_1588_EVENT0_OUT	0x102 /* EVENT0_OUT */
		>;
	};

	pinctrl_fec: fecgrp {
		fsl,pins = <
			MX8MP_IOMUXC_SAI1_RXD2__ENET1_MDC		0x2
			MX8MP_IOMUXC_SAI1_RXD3__ENET1_MDIO		0x2
			MX8MP_IOMUXC_SAI1_RXD4__ENET1_RGMII_RD0		0x90
			MX8MP_IOMUXC_SAI1_RXD5__ENET1_RGMII_RD1		0x90
			MX8MP_IOMUXC_SAI1_RXD6__ENET1_RGMII_RD2		0x90
			MX8MP_IOMUXC_SAI1_RXD7__ENET1_RGMII_RD3		0x90
			MX8MP_IOMUXC_SAI1_TXC__ENET1_RGMII_RXC		0x90
			MX8MP_IOMUXC_SAI1_TXFS__ENET1_RGMII_RX_CTL	0x90
			MX8MP_IOMUXC_SAI1_TXD0__ENET1_RGMII_TD0		0x16
			MX8MP_IOMUXC_SAI1_TXD1__ENET1_RGMII_TD1		0x16
			MX8MP_IOMUXC_SAI1_TXD2__ENET1_RGMII_TD2		0x16
			MX8MP_IOMUXC_SAI1_TXD3__ENET1_RGMII_TD3		0x16
			MX8MP_IOMUXC_SAI1_TXD4__ENET1_RGMII_TX_CTL	0x16
			MX8MP_IOMUXC_SAI1_TXD5__ENET1_RGMII_TXC		0x16

			MX8MP_IOMUXC_SAI1_RXFS__GPIO4_IO00			0x10 /* RESET */
			//TODO
			MX8MP_IOMUXC_SAI1_RXD0__GPIO4_IO02				0x146 /* INT Input pull-up. */
			MX8MP_IOMUXC_SAI1_RXC__ENET1_1588_EVENT0_OUT	0x102 /* EVENT0_OUT */
		>;
	};

	pinctrl_flexcan1: flexcan1grp {
		fsl,pins = <
			MX8MP_IOMUXC_SAI2_TXC__CAN1_RX          0x154
//			MX8MP_IOMUXC_SPDIF_RX__CAN1_RX          0x154
			MX8MP_IOMUXC_SAI2_RXC__CAN1_TX          0x154
		>;
	};

	pinctrl_flexcan2: flexcan2grp {
		fsl,pins = <
			MX8MP_IOMUXC_SAI2_MCLK__CAN2_RX         0x154
			MX8MP_IOMUXC_SAI2_TXD0__CAN2_TX         0x154
		>;
	};

	pinctrl_flexspi0: flexspi0grp {
		fsl,pins = <
			MX8MP_IOMUXC_NAND_ALE__FLEXSPI_A_SCLK           0x1c2
			MX8MP_IOMUXC_NAND_CE0_B__FLEXSPI_A_SS0_B        0x82
			MX8MP_IOMUXC_NAND_DATA00__FLEXSPI_A_DATA00      0x82
			MX8MP_IOMUXC_NAND_DATA01__FLEXSPI_A_DATA01      0x82
			MX8MP_IOMUXC_NAND_DATA02__FLEXSPI_A_DATA02      0x82
			MX8MP_IOMUXC_NAND_DATA03__FLEXSPI_A_DATA03      0x82
		>;
	};

	pinctrl_gpio_led: gpioledgrp {
		fsl,pins = <
			MX8MP_IOMUXC_NAND_READY_B__GPIO3_IO16	0x140
			MX8MP_IOMUXC_ECSPI1_MISO__GPIO5_IO08	0x19
			MX8MP_IOMUXC_ECSPI1_SS0__GPIO5_IO09		0x19
		>;
	};

	pinctrl_i2c1: i2c1grp {
		fsl,pins = <
			MX8MP_IOMUXC_I2C1_SCL__I2C1_SCL		0x400001c2
			MX8MP_IOMUXC_I2C1_SDA__I2C1_SDA		0x400001c2
		>;
	};

	pinctrl_i2c2: i2c2grp {
		fsl,pins = <
			MX8MP_IOMUXC_I2C2_SCL__I2C2_SCL		0x400001c2
			MX8MP_IOMUXC_I2C2_SDA__I2C2_SDA		0x400001c2
		>;
	};

	pinctrl_i2c3: i2c3grp {
		fsl,pins = <
			MX8MP_IOMUXC_I2C3_SCL__I2C3_SCL		0x400001c2
			MX8MP_IOMUXC_I2C3_SDA__I2C3_SDA		0x400001c2
		>;
	};

	pinctrl_i2c4: i2c4grp {
		fsl,pins = <
			MX8MP_IOMUXC_I2C4_SCL__I2C4_SCL         0x400001c2
			MX8MP_IOMUXC_I2C4_SDA__I2C4_SDA         0x400001c2
		>;
	};

	pinctrl_i2c5: i2c5grp {
		fsl,pins = <
			MX8MP_IOMUXC_SPDIF_TX__I2C5_SCL         0x400001c2
			MX8MP_IOMUXC_SPDIF_RX__I2C5_SDA         0x400001c2
		>;
	};

	pinctrl_i2c6: i2c6grp {
		fsl,pins = <
//			MX8MP_IOMUXC_SAI5_RXC__I2C6_SDA		0x400001c2
//			MX8MP_IOMUXC_SAI5_RXFS__I2C6_SCL	0x400001c2
		>;
	};

	pinctrl_pcie0: pcie0grp {
		fsl,pins = <
			MX8MP_IOMUXC_UART4_RXD__PCIE_CLKREQ_B	0x60 /* open drain, pull up */
			MX8MP_IOMUXC_SD1_DATA5__GPIO2_IO07	0x40
			MX8MP_IOMUXC_I2C4_SDA__GPIO5_IO21	0x1c4
		>;
	};

	pinctrl_pcie0_rst: pcie0rstgrp {
		fsl,pins = <
			MX8MP_IOMUXC_GPIO1_IO08__GPIO1_IO08	0x40
		>;
	};

	pinctrl_pmic: pmicgrp {
		fsl,pins = <
			MX8MP_IOMUXC_GPIO1_IO03__GPIO1_IO03	0x000001c0
		>;
	};

	pinctrl_pca6416_int: pca6416_int_grp {
		fsl,pins = <
			MX8MP_IOMUXC_GPIO1_IO12__GPIO1_IO12	0x146 /* Input pull-up. */
		>;
	};

	pinctrl_tca6424: tca6424grp {
		fsl,pins = <
			MX8MP_IOMUXC_UART3_RXD__GPIO5_IO26	0x146 /* INT, Input pull-up. */
		>;
	};

	pinctrl_pcal6524: pcal6524grp {
		fsl,pins = <
			MX8MP_IOMUXC_SAI5_MCLK__GPIO3_IO25	0x146 /* INT, Input pull-up. */
		>;
	};

	pinctrl_pcal6524_rst: pcal6524rstgrp {
		fsl,pins = <
			MX8MP_IOMUXC_SD1_DATA4__GPIO2_IO06	0x142 /* RST, Output pull-up. */
		>;
	};

	pinctrl_usb2517_rst: usb2517rstgrp {
		fsl,pins = <
			MX8MP_IOMUXC_SAI1_RXD1__GPIO4_IO03	0x142 /* RST, Output pull-up. */
		>;
	};

	pinctrl_pdm: pdmgrp {
		fsl,pins = <
//			MX8MP_IOMUXC_SAI5_RXC__AUDIOMIX_PDM_CLK		0xd6
			MX8MP_IOMUXC_SAI5_RXD0__AUDIOMIX_PDM_BIT_STREAM00	0xd6
			MX8MP_IOMUXC_SAI5_RXD1__AUDIOMIX_PDM_BIT_STREAM01	0xd6
			MX8MP_IOMUXC_SAI5_RXD2__AUDIOMIX_PDM_BIT_STREAM02	0xd6
			MX8MP_IOMUXC_SAI5_RXD3__AUDIOMIX_PDM_BIT_STREAM03	0xd6
		>;
	};

	pinctrl_sai2: sai2grp {
		fsl,pins = <
//			MX8MP_IOMUXC_SAI2_TXC__AUDIOMIX_SAI2_TX_BCLK	0xd6
			MX8MP_IOMUXC_SAI2_TXFS__AUDIOMIX_SAI2_TX_SYNC	0xd6
			MX8MP_IOMUXC_SAI2_TXD0__AUDIOMIX_SAI2_TX_DATA00	0xd6
			MX8MP_IOMUXC_SAI2_RXD0__AUDIOMIX_SAI2_RX_DATA00	0xd6
		>;
	};

	pinctrl_sai3: sai3grp {
		fsl,pins = <
			MX8MP_IOMUXC_SAI3_MCLK__AUDIOMIX_SAI3_MCLK		0xd6
			MX8MP_IOMUXC_SAI3_TXFS__AUDIOMIX_SAI3_TX_SYNC	0xd6
			MX8MP_IOMUXC_SAI3_TXD__AUDIOMIX_SAI3_TX_DATA00	0xd6
			MX8MP_IOMUXC_SAI3_RXD__AUDIOMIX_SAI3_RX_DATA00	0xd6
			MX8MP_IOMUXC_SAI3_TXC__AUDIOMIX_SAI3_TX_BCLK	0xd6
		>;
	};

	pinctrl_sai5: sai5grp {
		fsl,pins = <
			MX8MP_IOMUXC_SAI5_RXD1__AUDIOMIX_SAI5_TX_SYNC	0xd6
			MX8MP_IOMUXC_SAI5_RXD3__AUDIOMIX_SAI5_TX_DATA00	0xd6
			MX8MP_IOMUXC_SAI5_RXD0__AUDIOMIX_SAI5_RX_DATA00	0xd6
			MX8MP_IOMUXC_SAI5_RXD2__AUDIOMIX_SAI5_TX_BCLK	0xd6
		>;
	};

	pinctrl_i2c2_synaptics_dsx_io: synaptics_dsx_iogrp {
		fsl,pins = <
			MX8MP_IOMUXC_GPIO1_IO09__GPIO1_IO09		0x16
		>;
	};

	pinctrl_typec: typec1grp {
		fsl,pins = <
			MX8MP_IOMUXC_SAI1_TXD7__GPIO4_IO19	0x1c4
		>;
	};

	pinctrl_typec_mux: typec1muxgrp {
		fsl,pins = <
			MX8MP_IOMUXC_SAI1_MCLK__GPIO4_IO20	0x16
		>;
	};

	pinctrl_uart1: uart1grp {
		fsl,pins = <
			MX8MP_IOMUXC_UART1_RXD__UART1_DCE_RX	0x140
			MX8MP_IOMUXC_UART1_TXD__UART1_DCE_TX	0x140
		>;
	};

	pinctrl_uart2: uart2grp {
		fsl,pins = <
			MX8MP_IOMUXC_UART2_RXD__UART2_DCE_RX	0x140
			MX8MP_IOMUXC_UART2_TXD__UART2_DCE_TX	0x140
		>;
	};

	pinctrl_uart3: uart3grp {
		fsl,pins = <
			MX8MP_IOMUXC_SD1_DATA6__UART3_DCE_TX	0x140
			MX8MP_IOMUXC_SD1_DATA7__UART3_DCE_RX	0x140
			MX8MP_IOMUXC_SD1_STROBE__UART3_DCE_CTS	0x140
			MX8MP_IOMUXC_SD1_RESET_B__UART3_DCE_RTS	0x140
		>;
	};

	pinctrl_uart4: uart4grp {
		fsl,pins = <
			MX8MP_IOMUXC_ECSPI2_MOSI__UART4_DCE_TX	0x140
			MX8MP_IOMUXC_ECSPI2_SCLK__UART4_DCE_RX	0x140
			MX8MP_IOMUXC_ECSPI2_MISO__UART4_DCE_CTS	0x140
			MX8MP_IOMUXC_ECSPI2_SS0__UART4_DCE_RTS	0x140
		>;
	};

	pinctrl_usdhc1: usdhc1grp {
		fsl,pins = <
			MX8MP_IOMUXC_SD1_CLK__USDHC1_CLK	0x190
			MX8MP_IOMUXC_SD1_CMD__USDHC1_CMD	0x1d0
			MX8MP_IOMUXC_SD1_DATA0__USDHC1_DATA0	0x1d0
			MX8MP_IOMUXC_SD1_DATA1__USDHC1_DATA1	0x1d0
			MX8MP_IOMUXC_SD1_DATA2__USDHC1_DATA2	0x1d0
			MX8MP_IOMUXC_SD1_DATA3__USDHC1_DATA3	0x1d0
		>;
	};

	pinctrl_usdhc1_100mhz: usdhc1grp-100mhz {
		fsl,pins = <
			MX8MP_IOMUXC_SD1_CLK__USDHC1_CLK	0x194
			MX8MP_IOMUXC_SD1_CMD__USDHC1_CMD	0x1d4
			MX8MP_IOMUXC_SD1_DATA0__USDHC1_DATA0	0x1d4
			MX8MP_IOMUXC_SD1_DATA1__USDHC1_DATA1	0x1d4
			MX8MP_IOMUXC_SD1_DATA2__USDHC1_DATA2	0x1d4
			MX8MP_IOMUXC_SD1_DATA3__USDHC1_DATA3	0x1d4
		>;
	};

	pinctrl_usdhc1_200mhz: usdhc1grp-200mhz {
		fsl,pins = <
			MX8MP_IOMUXC_SD1_CLK__USDHC1_CLK	0x196
			MX8MP_IOMUXC_SD1_CMD__USDHC1_CMD	0x1d6
			MX8MP_IOMUXC_SD1_DATA0__USDHC1_DATA0	0x1d6
			MX8MP_IOMUXC_SD1_DATA1__USDHC1_DATA1	0x1d6
			MX8MP_IOMUXC_SD1_DATA2__USDHC1_DATA2	0x1d6
			MX8MP_IOMUXC_SD1_DATA3__USDHC1_DATA3	0x1d6
		>;
	};

	pinctrl_usdhc1_gpio: usdhc1grp-gpio {
		fsl,pins = <
			MX8MP_IOMUXC_SAI2_RXFS__GPIO4_IO21	0x102 /* WIFI BT PWR, Output pull-down */
		>;
	};

	pinctrl_usdhc2: usdhc2grp {
		fsl,pins = <
			MX8MP_IOMUXC_SD2_CLK__USDHC2_CLK	0x190
			MX8MP_IOMUXC_SD2_CMD__USDHC2_CMD	0x1d0
			MX8MP_IOMUXC_SD2_DATA0__USDHC2_DATA0	0x1d0
			MX8MP_IOMUXC_SD2_DATA1__USDHC2_DATA1	0x1d0
			MX8MP_IOMUXC_SD2_DATA2__USDHC2_DATA2	0x1d0
			MX8MP_IOMUXC_SD2_DATA3__USDHC2_DATA3	0x1d0
			MX8MP_IOMUXC_GPIO1_IO04__USDHC2_VSELECT	0xc0
		>;
	};

	pinctrl_usdhc2_100mhz: usdhc2-100mhzgrp {
		fsl,pins = <
			MX8MP_IOMUXC_SD2_CLK__USDHC2_CLK	0x194
			MX8MP_IOMUXC_SD2_CMD__USDHC2_CMD	0x1d4
			MX8MP_IOMUXC_SD2_DATA0__USDHC2_DATA0	0x1d4
			MX8MP_IOMUXC_SD2_DATA1__USDHC2_DATA1	0x1d4
			MX8MP_IOMUXC_SD2_DATA2__USDHC2_DATA2	0x1d4
			MX8MP_IOMUXC_SD2_DATA3__USDHC2_DATA3	0x1d4
			MX8MP_IOMUXC_GPIO1_IO04__USDHC2_VSELECT 0xc0
		>;
	};

	pinctrl_usdhc2_200mhz: usdhc2-200mhzgrp {
		fsl,pins = <
			MX8MP_IOMUXC_SD2_CLK__USDHC2_CLK	0x196
			MX8MP_IOMUXC_SD2_CMD__USDHC2_CMD	0x1d6
			MX8MP_IOMUXC_SD2_DATA0__USDHC2_DATA0	0x1d6
			MX8MP_IOMUXC_SD2_DATA1__USDHC2_DATA1	0x1d6
			MX8MP_IOMUXC_SD2_DATA2__USDHC2_DATA2	0x1d6
			MX8MP_IOMUXC_SD2_DATA3__USDHC2_DATA3	0x1d6


			MX8MP_IOMUXC_GPIO1_IO04__USDHC2_VSELECT 0xc0
		>;
	};

	pinctrl_reg_usdhc2_vmmc: regusdhc2vmmcgrp {
		fsl,pins = <
			MX8MP_IOMUXC_SD2_RESET_B__GPIO2_IO19	0x102 /* SD2 PWR, Output pull-down */
		>;
	};

	pinctrl_usdhc2_gpio: usdhc2gpiogrp {
		fsl,pins = <
			MX8MP_IOMUXC_SD2_CD_B__GPIO2_IO12	0x1c4
		>;
	};

	pinctrl_usdhc3: usdhc3grp {
		fsl,pins = <
			MX8MP_IOMUXC_NAND_WE_B__USDHC3_CLK	0x190
			MX8MP_IOMUXC_NAND_WP_B__USDHC3_CMD	0x1d0
			MX8MP_IOMUXC_NAND_DATA04__USDHC3_DATA0	0x1d0
			MX8MP_IOMUXC_NAND_DATA05__USDHC3_DATA1	0x1d0
			MX8MP_IOMUXC_NAND_DATA06__USDHC3_DATA2	0x1d0
			MX8MP_IOMUXC_NAND_DATA07__USDHC3_DATA3	0x1d0
			MX8MP_IOMUXC_NAND_RE_B__USDHC3_DATA4	0x1d0
			MX8MP_IOMUXC_NAND_CE2_B__USDHC3_DATA5	0x1d0
			MX8MP_IOMUXC_NAND_CE3_B__USDHC3_DATA6	0x1d0
			MX8MP_IOMUXC_NAND_CLE__USDHC3_DATA7	0x1d0
			MX8MP_IOMUXC_NAND_CE1_B__USDHC3_STROBE	0x190
		>;
	};

	pinctrl_usdhc3_100mhz: usdhc3-100mhzgrp {
		fsl,pins = <
			MX8MP_IOMUXC_NAND_WE_B__USDHC3_CLK	0x194
			MX8MP_IOMUXC_NAND_WP_B__USDHC3_CMD	0x1d4
			MX8MP_IOMUXC_NAND_DATA04__USDHC3_DATA0	0x1d4
			MX8MP_IOMUXC_NAND_DATA05__USDHC3_DATA1	0x1d4
			MX8MP_IOMUXC_NAND_DATA06__USDHC3_DATA2	0x1d4
			MX8MP_IOMUXC_NAND_DATA07__USDHC3_DATA3	0x1d4
			MX8MP_IOMUXC_NAND_RE_B__USDHC3_DATA4	0x1d4
			MX8MP_IOMUXC_NAND_CE2_B__USDHC3_DATA5	0x1d4
			MX8MP_IOMUXC_NAND_CE3_B__USDHC3_DATA6	0x1d4
			MX8MP_IOMUXC_NAND_CLE__USDHC3_DATA7	0x1d4
			MX8MP_IOMUXC_NAND_CE1_B__USDHC3_STROBE	0x194
		>;
	};

	pinctrl_usdhc3_200mhz: usdhc3-200mhzgrp {
		fsl,pins = <
			MX8MP_IOMUXC_NAND_WE_B__USDHC3_CLK	0x196
			MX8MP_IOMUXC_NAND_WP_B__USDHC3_CMD	0x1d6
			MX8MP_IOMUXC_NAND_DATA04__USDHC3_DATA0	0x1d6
			MX8MP_IOMUXC_NAND_DATA05__USDHC3_DATA1	0x1d6
			MX8MP_IOMUXC_NAND_DATA06__USDHC3_DATA2	0x1d6
			MX8MP_IOMUXC_NAND_DATA07__USDHC3_DATA3	0x1d6
			MX8MP_IOMUXC_NAND_RE_B__USDHC3_DATA4	0x1d6
			MX8MP_IOMUXC_NAND_CE2_B__USDHC3_DATA5	0x1d6
			MX8MP_IOMUXC_NAND_CE3_B__USDHC3_DATA6	0x1d6
			MX8MP_IOMUXC_NAND_CLE__USDHC3_DATA7	0x1d6
			MX8MP_IOMUXC_NAND_CE1_B__USDHC3_STROBE	0x196
		>;
	};

	pinctrl_wdog: wdoggrp {
		fsl,pins = <
			MX8MP_IOMUXC_GPIO1_IO02__WDOG1_WDOG_B	0x166
		>;
	};


	pinctrl_csi0_pwn: csi0_pwn_grp {
		fsl,pins = <
			MX8MP_IOMUXC_SAI5_RXC__GPIO3_IO20		0x19
		>;
	};

	pinctrl_csi0_rst: csi0_rst_grp {
		fsl,pins = <
			MX8MP_IOMUXC_SAI5_RXFS__GPIO3_IO19		0x19
		>;
	};

	pinctrl_csi_mclk: csi_mclk_grp {
		fsl,pins = <
			MX8MP_IOMUXC_GPIO1_IO15__CCM_CLKO2	0x50
		>;
	};


};

&vpu_g1 {
	status = "okay";
};

&vpu_g2 {
	status = "okay";
};

&vpu_vc8000e {
	status = "okay";
};

&vpu_v4l2 {
	status = "okay";
};

&gpu_3d {
	status = "okay";
};

&gpu_2d {
	status = "okay";
};

&ml_vipsi {
	status = "okay";
};

&mix_gpu_ml {
	status = "okay";
};

&mipi_csi_0 {
	#address-cells = <1>;
	#size-cells = <0>;
	status = "disabled";

	port@0 {
		reg = <0>;
		mipi_csi0_ep: endpoint {
//			remote-endpoint = <&ov5645_mipi_csi0_ep>;
			data-lanes = <2>;
			csis-hs-settle = <13>;
			csis-clk-settle = <2>;
			csis-wclk;
		};
	};
};

&mipi_csi_1 {
	#address-cells = <1>;
	#size-cells = <0>;
	status = "okay";

	port@1 {
		reg = <1>;
		mipi_csi1_ep: endpoint {
			remote-endpoint = <&ov5645_mipi_csi1_ep>;
			data-lanes = <2>;
			csis-hs-settle = <13>;
			csis-clk-settle = <2>;
			csis-wclk;
		};
	};
};

&cameradev {
	status = "okay";
};

&isi_0 {
	status = "disabled";

	cap_device {
		status = "disabled";
	};

	m2m_device {
		status = "disabled";
	};
};

&isi_1 {
	status = "okay";

	cap_device {
		status = "okay";
	};
/*
	m2m_device {
		status = "okay";
	};*/
};
